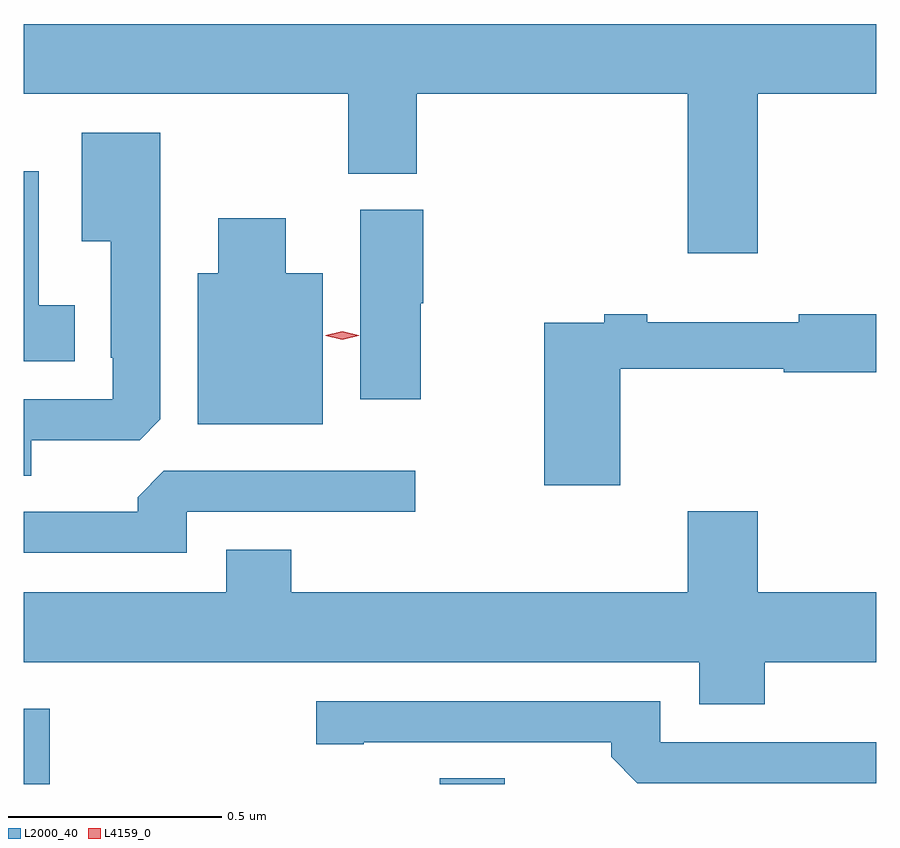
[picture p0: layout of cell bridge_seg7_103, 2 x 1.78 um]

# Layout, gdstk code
import gdstk
lib = gdstk.Library(unit=1e-6, precision=1e-09)
def R(c, l, rs):  # rectangles x0, y0, x1, y1
    for r in rs: c.add(gdstk.rectangle(r[:2], r[2:], *l))
def P(c, l, *ps):  # polygons
    for p in ps: c.add(gdstk.Polygon(p, *l))
L2000_40 = (2000, 40)
L4159_0 = (4159, 0)

bridge_seg7_103 = lib.new_cell('bridge_seg7_103')
R(bridge_seg7_103, L2000_40, [(1086.526,1010.986,1086.587,1011.162), (1087.502,1010.986,1087.654,1010.999)])
P(bridge_seg7_103, L2000_40, [(1088.248,1012.604),(1088.526,1012.604),(1088.526,1012.768),(1086.526,1012.768),(1086.526,1012.604),(1087.288,1012.604),(1087.288,1012.417),(1087.448,1012.417),(1087.448,1012.604),(1088.084,1012.604),(1088.084,1012.23),(1088.248,1012.23)],
  [(1086.544,1011.792),(1086.798,1011.792),(1086.847,1011.841),(1086.847,1012.513),(1086.662,1012.513),(1086.662,1012.259),(1086.731,1012.259),(1086.731,1011.985),(1086.735,1011.985),(1086.735,1011.888),(1086.526,1011.888),(1086.526,1011.709),(1086.544,1011.709)],
  [(1086.646,1012.108),(1086.562,1012.108),(1086.562,1012.423),(1086.526,1012.423),(1086.526,1011.977),(1086.646,1011.977)],
  [(1087.458,1012.113),(1087.463,1012.113),(1087.463,1012.332),(1087.316,1012.332),(1087.316,1011.888),(1087.458,1011.888)],
  [(1087.228,1012.183),(1087.141,1012.183),(1087.141,1012.312),(1086.983,1012.312),(1086.983,1012.183),(1086.935,1012.183),(1086.935,1011.83),(1087.228,1011.83)],
  [(1087.925,1011.96),(1088.308,1011.96),(1088.308,1011.952),(1088.526,1011.952),(1088.526,1012.088),(1088.344,1012.088),(1088.344,1012.069),(1087.988,1012.069),(1087.988,1012.088),(1087.888,1012.088),(1087.888,1012.068),(1087.747,1012.068),(1087.747,1011.687),(1087.925,1011.687)],
  [(1086.909,1011.624),(1087.444,1011.624),(1087.444,1011.72),(1086.855,1011.72),(1086.794,1011.658),(1086.794,1011.624),(1086.526,1011.624),(1086.526,1011.528),(1086.909,1011.528)],
  [(1088.264,1011.272),(1088.526,1011.272),(1088.526,1011.436),(1088.248,1011.436),(1088.248,1011.625),(1088.084,1011.625),(1088.084,1011.436),(1087.154,1011.436),(1087.154,1011.535),(1087.001,1011.535),(1087.001,1011.436),(1086.526,1011.436),(1086.526,1011.272),(1088.111,1011.272),(1088.111,1011.173),(1088.264,1011.173)],
  [(1088.526,1011.084),(1088.019,1011.084),(1088.019,1011.18),(1087.212,1011.18),(1087.212,1011.079),(1087.324,1011.079),(1087.324,1011.084),(1087.904,1011.084),(1087.904,1011.05),(1087.965,1010.988),(1088.526,1010.988)])
P(bridge_seg7_103, L4159_0, [(1087.273,1012.028),(1087.235,1012.037),(1087.235,1012.038),(1087.235,1012.038),(1087.273,1012.048),(1087.312,1012.038),(1087.312,1012.038),(1087.312,1012.037)])

lib.write_gds('bridge_seg7_103.gds')
